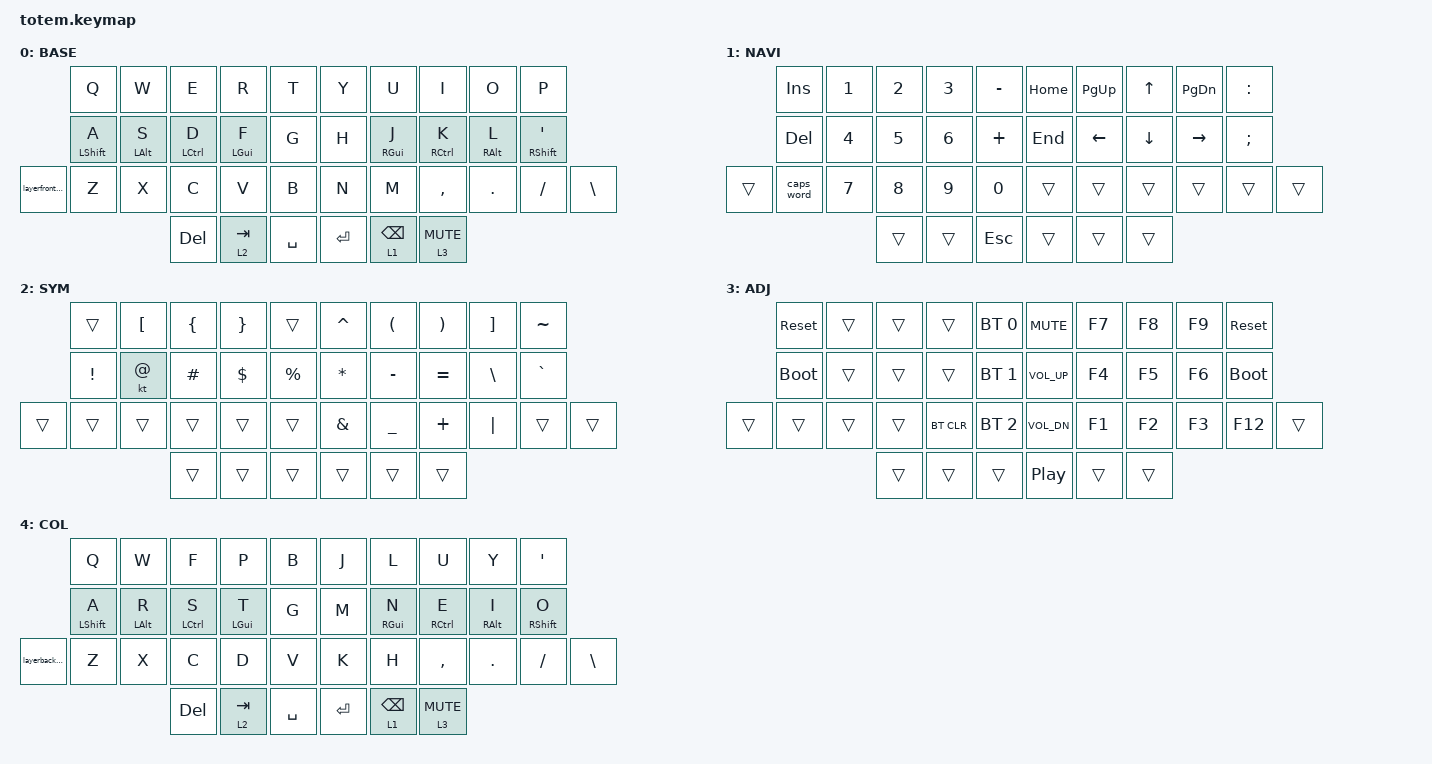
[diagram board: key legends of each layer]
//
//                                                        ▀▀▀▀▀     ▀▀▀▀▀          ▀▀█▀▀
//                                                        ▄▀▀▀▄  ▄  ▄▀▀▀▄  ▄  ▄▀▀▀▄  █  ▄▀▀▀▄
//                                                        █   █  █  █   █  █  █   █  █  █   █
//                                                         ▀▀▀   █   ▀▀▀   █   ▀▀▀   ▀   ▀▀▀
//                                                               █      ▄▄▄█▄▄▄    █   █  
//                                                               ▀      █  █  █     █▄█
//                                                             ▀▀▀▀▀    █  █  █      ▀
//                                                                      ▀  ▀  ▀
//
// ▄▄▄▄▄▄▄▄▄▄▄▄▄▄▄▄▄▄▄▄▄▄▄▄▄▄▄▄▄▄▄▄▄▄▄▄▄▄▄▄▄▄▄▄▄▄▄▄▄▄▄▄▄▄▄▄▄▄▄▄▄▄▄▄▄▄▄▄▄▄▄▄▄▄▄▄▄▄▄▄▄▄▄▄▄▄▄▄▄▄▄▄▄▄▄▄▄▄▄▄▄▄▄▄▄▄▄▄▄▄▄▄▄▄▄▄▄▄▄▄▄▄▄▄▄▄▄▄▄▄▄▄▄▄▄▄▄▄▄▄▄▄▄▄▄▄▄▄▄

#include <behaviors.dtsi>
#include <dt-bindings/zmk/bt.h>
#include <dt-bindings/zmk/keys.h>

#define BASE 0
#define NAV  1
#define SYM  2
#define ADJ  3
#define COL  4

&mt {
    quick-tap-ms = <100>;
    global-quick-tap;
    flavor = "tap-preferred";
    tapping-term-ms = <170>;
};

/ {
    combos {
        compatible = "zmk,combos";

        combo_esc {
            timeout-ms = <50>;
            key-positions = <0 1>;
            bindings = <&kp ESC>;
        };

        undo {
            bindings = <&kp K_UNDO>;
            key-positions = <21 22>;
        };
    };

    macros {
        gif: gif {
            label = "giphy";
            compatible = "zmk,behavior-macro";
            #binding-cells = <0>;
            bindings =
                <&macro_press>,
                <&kp LSHFT>,
                <&macro_tap>,
                <&kp N2>,
                <&macro_release>,
                <&kp LSHFT>,
                <&macro_tap>,
                <&kp G &kp I &kp F>;
        };
    };

    behaviors {
        hm: hm {
            compatible = "zmk,behavior-hold-tap";
            label = "HM";
            bindings = <&kp>, <&kp>;

            #binding-cells = <2>;
            tapping-term-ms = <200>;
            flavor = "tap-preferred";
        };

        hs: hs {
            compatible = "zmk,behavior-hold-tap";
            label = "HS";
            bindings = <&kp>, <&kp>;

            #binding-cells = <2>;
            tapping-term-ms = <175>;
            flavor = "tap-preferred";
        };

        layerbackswap: layerbackswap {
            compatible = "zmk,behavior-tap-dance";
            label = "LAYERBACKSWAP";
            #binding-cells = <0>;
            bindings = <&kp LEFT_SHIFT>, <&to 0>;
        };

        layerfrontswap: layerfrontswap {
            compatible = "zmk,behavior-tap-dance";
            label = "LAYERFRONTSWAP";
            #binding-cells = <0>;
            bindings = <&kp LEFT_SHIFT>, <&to 4>;
        };
    };

    keymap {
        compatible = "zmk,keymap";

        // ▄▄▄▄▄▄▄▄▄▄▄▄▄▄▄▄▄▄▄▄▄▄▄▄▄▄▄▄▄▄▄▄▄▄▄▄▄▄▄▄▄▄▄▄▄▄▄▄▄▄▄▄▄▄▄▄▄▄▄▄▄▄▄▄▄▄▄▄▄▄▄▄▄▄▄▄▄▄▄▄▄▄▄▄▄▄▄▄▄▄▄▄▄▄▄▄▄▄▄▄▄▄▄▄▄▄▄▄▄▄▄▄▄▄▄▄▄▄▄▄▄▄▄▄▄▄▄▄▄▄▄▄▄▄▄▄▄▄▄▄▄▄▄▄▄▄▄▄▄

        base_layer {
            // ┏━━━━━━━━━━━━━━━━━━━━━━━━━━━━━━━━━━━━━━━┓

            label = "BASE";

            // ┗━━━━━━━━━━━━━━━━━━━━━━━━━━━━━━━━━━━━━━━┛
            //             ┏━━━━━━━━━━━┳━━━━━━━━━━━┳━━━━━━━━━━━┳━━━━━━━━━━━┳━━━━━━━━━━━┓   ┏━━━━━━━━━━━┳━━━━━━━━━━━┳━━━━━━━━━━━┳━━━━━━━━━━━┳━━━━━━━━━━━┓
            //             ┃     Q     ┃     W     ┃     F     ┃     P     ┃     G     ┃   ┃     J     ┃     L     ┃     U     ┃     Y     ┃     ;     ┃
            //             ┣━━━━━━━━━━━╋━━━━━━━━━━━╋━━━━━━━━━━━╋━━━━━━━━━━━╋━━━━━━━━━━━┫   ┣━━━━━━━━━━━╋━━━━━━━━━━━╋━━━━━━━━━━━╋━━━━━━━━━━━╋━━━━━━━━━━━┫
            //             ┃     A     ┃     R     ┃     S     ┃     T     ┃     D     ┃   ┃     H     ┃     N     ┃     E     ┃     I     ┃     O     ┃
            // ┏━━━━━━━━━━━╋━━━━━━━━━━━╋━━━━━━━━━━━╋━━━━━━━━━━━╋━━━━━━━━━━━╋━━━━━━━━━━━┫   ┣━━━━━━━━━━━╋━━━━━━━━━━━╋━━━━━━━━━━━╋━━━━━━━━━━━╋━━━━━━━━━━━╋━━━━━━━━━━━┓
            // ┃           ┃     Z     ┃     X     ┃     C     ┃     V     ┃     B     ┃   ┃     K     ┃     M     ┃     ,     ┃     .     ┃     /     ┃           ┃
            // ┗━━━━━━━━━━━┻━━━━━━━━━━━┻━━━━━━━━━━━╋━━━━━━━━━━━╋━━━━━━━━━━━╋━━━━━━━━━━━┫   ┣━━━━━━━━━━━╋━━━━━━━━━━━╋━━━━━━━━━━━╋━━━━━━━━━━━┻━━━━━━━━━━━┻━━━━━━━━━━━┛
            //                                     ┃           ┃    TAB    ┃    SPC    ┃   ┃   ENTER   ┃   BSPC    ┃           ┃
            //                                     ┗━━━━━━━━━━━┻━━━━━━━━━━━┻━━━━━━━━━━━┛   ┗━━━━━━━━━━━┻━━━━━━━━━━━┻━━━━━━━━━━━┛

            bindings = <
                 &kp Q             &kp W           &kp E               &kp R           &kp T        &kp Y      &kp U            &kp I                &kp O            &kp P
                 &hs LEFT_SHIFT A  &hm LEFT_ALT S  &hm LEFT_CONTROL D  &hm LEFT_GUI F  &kp G        &kp H      &hm RIGHT_GUI J  &hm RIGHT_CONTROL K  &hm RIGHT_ALT L  &hs RIGHT_SHIFT APOSTROPHE
&layerfrontswap  &kp Z             &kp X           &kp C               &kp V           &kp B        &kp N      &kp M            &kp COMMA            &kp DOT          &kp FSLH                    &kp BACKSLASH
                                                   &kp DELETE          &lt 2 TAB       &kp SPACE    &kp ENTER  &lt 1 BACKSPACE  &lt 3 C_MUTE
            >;
        };

        // ▄▄▄▄▄▄▄▄▄▄▄▄▄▄▄▄▄▄▄▄▄▄▄▄▄▄▄▄▄▄▄▄▄▄▄▄▄▄▄▄▄▄▄▄▄▄▄▄▄▄▄▄▄▄▄▄▄▄▄▄▄▄▄▄▄▄▄▄▄▄▄▄▄▄▄▄▄▄▄▄▄▄▄▄▄▄▄▄▄▄▄▄▄▄▄▄▄▄▄▄▄▄▄▄▄▄▄▄▄▄▄▄▄▄▄▄▄▄▄▄▄▄▄▄▄▄▄▄▄▄▄▄▄▄▄▄▄▄▄▄▄▄▄▄▄▄▄▄▄

        nav_layer {
            // ┏━━━━━━━━━━━━━━━━━━━━━━━━━━━━━━━━━━━━━━━┓

            label = "NAVI";

            // ┗━━━━━━━━━━━━━━━━━━━━━━━━━━━━━━━━━━━━━━━┛
            //             ┏━━━━━━━━━━━┳━━━━━━━━━━━┳━━━━━━━━━━━┳━━━━━━━━━━━┳━━━━━━━━━━━┓   ┏━━━━━━━━━━━┳━━━━━━━━━━━┳━━━━━━━━━━━┳━━━━━━━━━━━┳━━━━━━━━━━━┓
            //             ┃           ┃           ┃     UP    ┃           ┃     {     ┃   ┃     }     ┃     7     ┃     8     ┃     9     ┃     +     ┃
            //             ┣━━━━━━━━━━━╋━━━━━━━━━━━╋━━━━━━━━━━━╋━━━━━━━━━━━╋━━━━━━━━━━━┫   ┣━━━━━━━━━━━╋━━━━━━━━━━━╋━━━━━━━━━━━╋━━━━━━━━━━━╋━━━━━━━━━━━┫
            //             ┃   SHIFT   ┃   LEFT    ┃    DOWN   ┃   RIGHT   ┃     [     ┃   ┃     ]     ┃     4     ┃     5     ┃     6     ┃     -     ┃
            // ┏━━━━━━━━━━━╋━━━━━━━━━━━╋━━━━━━━━━━━╋━━━━━━━━━━━╋━━━━━━━━━━━╋━━━━━━━━━━━┫   ┣━━━━━━━━━━━╋━━━━━━━━━━━╋━━━━━━━━━━━╋━━━━━━━━━━━╋━━━━━━━━━━━╋━━━━━━━━━━━┓
            // ┃           ┃           ┃   P UP    ┃  C LOCK   ┃  P DOWN   ┃     (     ┃   ┃     )     ┃     1     ┃     2     ┃     3     ┃     *     ┃           ┃
            // ┗━━━━━━━━━━━┻━━━━━━━━━━━┻━━━━━━━━━━━╋━━━━━━━━━━━╋━━━━━━━━━━━╋━━━━━━━━━━━┫   ┣━━━━━━━━━━━╋━━━━━━━━━━━╋━━━━━━━━━━━╋━━━━━━━━━━━┻━━━━━━━━━━━┻━━━━━━━━━━━┛
            //                                     ┃           ┃    TAB    ┃    SPC    ┃   ┃    DEL    ┃     0     ┃           ┃
            //                                     ┗━━━━━━━━━━━┻━━━━━━━━━━━┻━━━━━━━━━━━┛   ┗━━━━━━━━━━━┻━━━━━━━━━━━┻━━━━━━━━━━━┛

            bindings = <
        &kp INSERT  &kp NUMBER_1  &kp NUMBER_2  &kp NUMBER_3  &kp MINUS     &kp HOME  &kp PAGE_UP  &kp UP_ARROW  &kp PAGE_DOWN  &kp COLON
        &kp DELETE  &kp NUMBER_4  &kp N5        &kp NUMBER_6  &kp PLUS      &kp END   &kp LEFT     &kp DOWN      &kp RIGHT      &kp SEMI
&trans  &caps_word  &kp N7        &kp N8        &kp N9        &kp N0        &trans    &trans       &trans        &trans         &trans     &trans
                                  &trans        &trans        &kp ESCAPE    &trans    &trans       &trans
            >;
        };

        // ▄▄▄▄▄▄▄▄▄▄▄▄▄▄▄▄▄▄▄▄▄▄▄▄▄▄▄▄▄▄▄▄▄▄▄▄▄▄▄▄▄▄▄▄▄▄▄▄▄▄▄▄▄▄▄▄▄▄▄▄▄▄▄▄▄▄▄▄▄▄▄▄▄▄▄▄▄▄▄▄▄▄▄▄▄▄▄▄▄▄▄▄▄▄▄▄▄▄▄▄▄▄▄▄▄▄▄▄▄▄▄▄▄▄▄▄▄▄▄▄▄▄▄▄▄▄▄▄▄▄▄▄▄▄▄▄▄▄▄▄▄▄▄▄▄▄▄▄▄

        sim_layer {
            // ┏━━━━━━━━━━━━━━━━━━━━━━━━━━━━━━━━━━━━━━━┓

            label = "SYM";

            // ┗━━━━━━━━━━━━━━━━━━━━━━━━━━━━━━━━━━━━━━━┛
            //             ┏━━━━━━━━━━━┳━━━━━━━━━━━┳━━━━━━━━━━━┳━━━━━━━━━━━┳━━━━━━━━━━━┓   ┏━━━━━━━━━━━┳━━━━━━━━━━━┳━━━━━━━━━━━┳━━━━━━━━━━━┳━━━━━━━━━━━┓
            //             ┃     !     ┃     @     ┃     #     ┃     $     ┃     %     ┃   ┃     ˆ     ┃     &     ┃     Ü     ┃     '     ┃     "     ┃
            //             ┣━━━━━━━━━━━╋━━━━━━━━━━━╋━━━━━━━━━━━╋━━━━━━━━━━━╋━━━━━━━━━━━┫   ┣━━━━━━━━━━━╋━━━━━━━━━━━╋━━━━━━━━━━━╋━━━━━━━━━━━╋━━━━━━━━━━━┫
            //             ┃     Ä     ┃           ┃    SZ     ┃           ┃           ┃   ┃   MUTE    ┃   YEN     ┃   EURO    ┃  POUND    ┃     Ö     ┃
            // ┏━━━━━━━━━━━╋━━━━━━━━━━━╋━━━━━━━━━━━╋━━━━━━━━━━━╋━━━━━━━━━━━╋━━━━━━━━━━━┫   ┣━━━━━━━━━━━╋━━━━━━━━━━━╋━━━━━━━━━━━╋━━━━━━━━━━━╋━━━━━━━━━━━╋━━━━━━━━━━━┓
            // ┃           ┃  EMAIL1   ┃  EMAIL2   ┃           ┃           ┃           ┃   ┃   VOL-    ┃   VOL+    ┃   LAST    ┃   NEXT    ┃     \     ┃           ┃
            // ┗━━━━━━━━━━━┻━━━━━━━━━━━┻━━━━━━━━━━━╋━━━━━━━━━━━╋━━━━━━━━━━━╋━━━━━━━━━━━┫   ┣━━━━━━━━━━━╋━━━━━━━━━━━╋━━━━━━━━━━━╋━━━━━━━━━━━┻━━━━━━━━━━━┻━━━━━━━━━━━┛
            //                                     ┃           ┃    GIF    ┃    ADJ    ┃   ┃           ┃           ┃           ┃
            //                                     ┗━━━━━━━━━━━┻━━━━━━━━━━━┻━━━━━━━━━━━┛   ┗━━━━━━━━━━━┻━━━━━━━━━━━┻━━━━━━━━━━━┛

            bindings = <
        &trans    &kp LBKT  &kp LBRC  &kp RBRC    &trans       &kp CARET  &kp LPAR   &kp RPAR   &kp RBKT  &kp TILDE
        &kp EXCL  &kt AT    &kp HASH  &kp DOLLAR  &kp PRCNT    &kp ASTRK  &kp MINUS  &kp EQUAL  &kp BSLH  &kp GRAVE
&trans  &trans    &trans    &trans    &trans      &trans       &kp AMPS   &kp UNDER  &kp PLUS   &kp PIPE  &trans     &trans
                            &trans    &trans      &trans       &trans     &trans     &trans
            >;
        };

        // ▄▄▄▄▄▄▄▄▄▄▄▄▄▄▄▄▄▄▄▄▄▄▄▄▄▄▄▄▄▄▄▄▄▄▄▄▄▄▄▄▄▄▄▄▄▄▄▄▄▄▄▄▄▄▄▄▄▄▄▄▄▄▄▄▄▄▄▄▄▄▄▄▄▄▄▄▄▄▄▄▄▄▄▄▄▄▄▄▄▄▄▄▄▄▄▄▄▄▄▄▄▄▄▄▄▄▄▄▄▄▄▄▄▄▄▄▄▄▄▄▄▄▄▄▄▄▄▄▄▄▄▄▄▄▄▄▄▄▄▄▄▄▄▄▄▄▄▄▄

        adjust_layer {
            // ┏━━━━━━━━━━━━━━━━━━━━━━━━━━━━━━━━━━━━━━━┓

            label = "ADJ";

            // ┗━━━━━━━━━━━━━━━━━━━━━━━━━━━━━━━━━━━━━━━┛
            //             ┏━━━━━━━━━━━┳━━━━━━━━━━━┳━━━━━━━━━━━┳━━━━━━━━━━━┳━━━━━━━━━━━┓   ┏━━━━━━━━━━━┳━━━━━━━━━━━┳━━━━━━━━━━━┳━━━━━━━━━━━┳━━━━━━━━━━━┓
            //             ┃   RESET   ┃ BT CLEAR  ┃  OUT TOG  ┃           ┃           ┃   ┃           ┃    F7     ┃    F8     ┃    F9     ┃    F12    ┃
            //             ┣━━━━━━━━━━━╋━━━━━━━━━━━╋━━━━━━━━━━━╋━━━━━━━━━━━╋━━━━━━━━━━━┫   ┣━━━━━━━━━━━╋━━━━━━━━━━━╋━━━━━━━━━━━╋━━━━━━━━━━━╋━━━━━━━━━━━┫
            //             ┃ BOOTLOAD  ┃ BT NEXT   ┃           ┃           ┃           ┃   ┃           ┃    F4     ┃    F5     ┃    F6     ┃    F11    ┃
            // ┏━━━━━━━━━━━╋━━━━━━━━━━━╋━━━━━━━━━━━╋━━━━━━━━━━━╋━━━━━━━━━━━╋━━━━━━━━━━━┫   ┣━━━━━━━━━━━╋━━━━━━━━━━━╋━━━━━━━━━━━╋━━━━━━━━━━━╋━━━━━━━━━━━╋━━━━━━━━━━━┓
            // ┃           ┃           ┃ BT PREV   ┃           ┃           ┃           ┃   ┃           ┃    F1     ┃    F2     ┃    F3     ┃    F10    ┃           ┃
            // ┗━━━━━━━━━━━┻━━━━━━━━━━━┻━━━━━━━━━━━╋━━━━━━━━━━━╋━━━━━━━━━━━╋━━━━━━━━━━━┫   ┣━━━━━━━━━━━╋━━━━━━━━━━━╋━━━━━━━━━━━╋━━━━━━━━━━━┻━━━━━━━━━━━┻━━━━━━━━━━━┛
            //                                     ┃           ┃           ┃           ┃   ┃           ┃           ┃           ┃
            //                                     ┗━━━━━━━━━━━┻━━━━━━━━━━━┻━━━━━━━━━━━┛   ┗━━━━━━━━━━━┻━━━━━━━━━━━┻━━━━━━━━━━━┛

            bindings = <
        &sys_reset   &trans  &trans  &trans      &bt BT_SEL 0    &kp C_MUTE        &kp F7  &kp F8  &kp F9  &sys_reset
        &bootloader  &trans  &trans  &trans      &bt BT_SEL 1    &kp C_VOL_UP      &kp F4  &kp F5  &kp F6  &bootloader
&trans  &trans       &trans  &trans  &bt BT_CLR  &bt BT_SEL 2    &kp C_VOL_DN      &kp F1  &kp F2  &kp F3  &kp F12      &trans
                             &trans  &trans      &trans          &kp C_PLAY_PAUSE  &trans  &trans
            >;
        };

        colemak_layer {
            label = "COL";
            bindings = <
                &kp Q             &kp W           &kp F               &kp P           &kp B        &kp J      &kp L            &kp U                &kp Y            &kp APOSTROPHE
                &hs LEFT_SHIFT A  &hm LEFT_ALT R  &hm LEFT_CONTROL S  &hm LEFT_GUI T  &kp G        &kp M      &hm RIGHT_GUI N  &hm RIGHT_CONTROL E  &hm RIGHT_ALT I  &hs RIGHT_SHIFT O
&layerbackswap  &kp Z             &kp X           &kp C               &kp D           &kp V        &kp K      &kp H            &kp COMMA            &kp DOT          &kp FSLH           &kp BACKSLASH
                                                  &kp DELETE          &lt 2 TAB       &kp SPACE    &kp ENTER  &lt 1 BACKSPACE  &lt 3 C_MUTE
            >;
        };
    };
};
